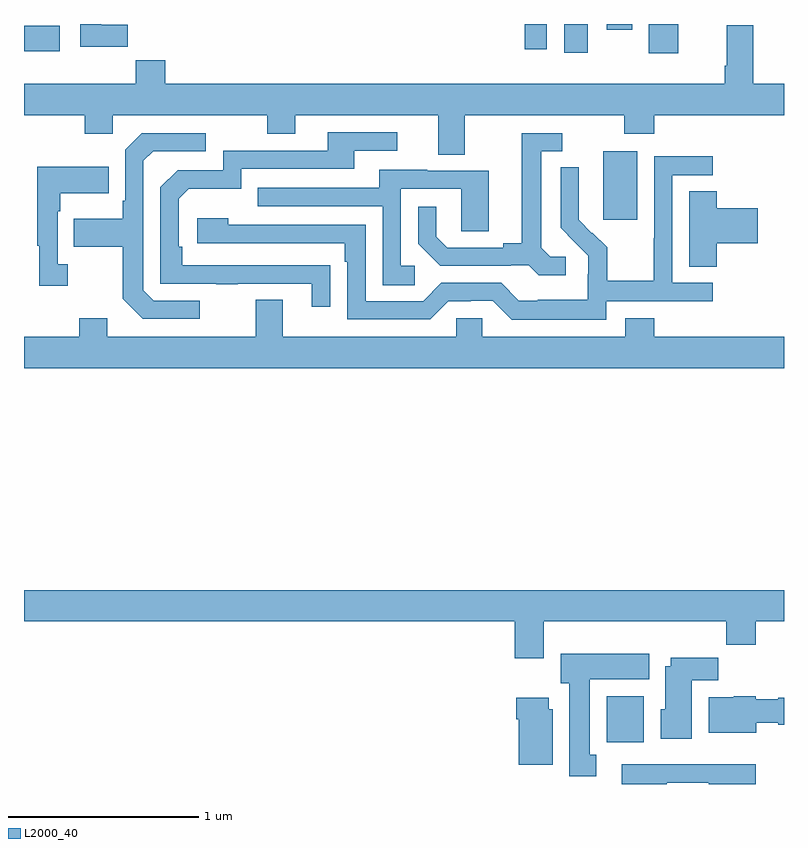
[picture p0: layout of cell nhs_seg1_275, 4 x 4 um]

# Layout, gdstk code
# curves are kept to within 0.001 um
import gdstk
lib = gdstk.Library(unit=1e-6, precision=1e-09)
def R(c, l, rs):  # rectangles x0, y0, x1, y1
    for r in rs: c.add(gdstk.rectangle(r[:2], r[2:], *l))
def P(c, l, *ps):  # polygons
    for p in ps: c.add(gdstk.Polygon(p, *l))
L2000_40 = (2000, 40)

nhs_seg1_275 = lib.new_cell('nhs_seg1_275')
R(nhs_seg1_275, L2000_40, [(128.066,560.42,128.263,560.662), (128.048,563.169,128.227,563.53), (128.288,564.045,128.443,564.199), (127.844,564.048,127.966,564.199), (125,564.056,125.188,564.19), (127.636,564.066,127.752,564.199), (128.066,564.168,128.2,564.199)])
P(nhs_seg1_275, L2000_40, [(125.546,564.196),(125.407,564.196),(125.407,564.199),(125.297,564.199),(125.297,564.078),(125.546,564.078)],
  [(127.321,563.72),(128.158,563.72),(128.158,563.621),(128.318,563.621),(128.318,563.72),(129,563.72),(129,563.884),(128.839,563.884),(128.839,564.193),(128.699,564.193),(128.699,563.98),(128.687,563.98),(128.687,563.884),(125.744,563.884),(125.744,564.008),(125.587,564.008),(125.587,563.884),(125,563.884),(125,563.72),(125.32,563.72),(125.32,563.621),(125.466,563.621),(125.466,563.72),(126.28,563.72),(126.28,563.621),(126.427,563.621),(126.427,563.72),(127.181,563.72),(127.181,563.512),(127.321,563.512)],
  [(126.611,562.928),(125.834,562.929),(125.834,563.026),(125.814,563.026),(125.814,563.28),(125.867,563.333),(126.144,563.333),(126.144,563.436),(126.739,563.436),(126.739,563.532),(126.964,563.532),(126.964,563.628),(126.599,563.628),(126.599,563.532),(126.048,563.532),(126.048,563.43),(125.808,563.43),(125.718,563.34),(125.718,562.833),(126.013,562.833),(126.013,562.828),(126.125,562.828),(126.125,562.833),(126.515,562.833),(126.515,562.71),(126.611,562.71)],
  [(127.852,562.974),(127.77,562.974),(127.723,563.021),(127.723,563.529),(127.834,563.529),(127.834,563.625),(127.619,563.625),(127.619,563.045),(127.523,563.045),(127.523,563.022),(127.228,563.022),(127.171,563.079),(127.171,563.236),(127.074,563.236),(127.074,563.042),(127.19,562.926),(127.562,562.926),(127.562,562.929),(127.656,562.929),(127.708,562.877),(127.852,562.877)],
  [(125.926,562.743),(125.682,562.743),(125.628,562.797),(125.628,563.478),(125.679,563.529),(125.956,563.529),(125.956,563.625),(125.619,563.625),(125.532,563.538),(125.532,563.269),(125.52,563.269),(125.52,563.173),(125.263,563.173),(125.263,563.026),(125.52,563.026),(125.52,562.753),(125.625,562.647),(125.926,562.647)],
  [(128.064,562.74),(128.626,562.74),(128.626,562.836),(128.412,562.836),(128.412,563.403),(128.626,563.403),(128.626,563.502),(128.316,563.502),(128.316,563.072),(128.314,563.072),(128.314,562.849),(128.069,562.849),(128.069,563.023),(127.992,563.1),(127.989,563.097),(127.919,563.168),(127.92,563.444),(127.824,563.444),(127.824,563.126),(127.97,562.978),(127.97,562.881),(127.968,562.881),(127.968,562.747),(127.705,562.747),(127.705,562.743),(127.605,562.743),(127.512,562.836),(127.197,562.836),(127.101,562.74),(126.798,562.74),(126.798,563.142),(126.074,563.142),(126.074,563.176),(125.913,563.176),(125.913,563.046),(126.689,563.046),(126.689,562.949),(126.702,562.949),(126.702,562.644),(127.137,562.644),(127.233,562.74),(127.352,562.74),(127.352,562.743),(127.467,562.743),(127.567,562.643),(128.064,562.643)],
  [(125.23,562.934),(125.178,562.934),(125.178,563.213),(125.191,563.213),(125.191,563.309),(125.447,563.309),(125.447,563.449),(125.07,563.449),(125.07,563.033),(125.081,563.033),(125.081,562.821),(125.23,562.821)],
  [(127.057,562.926),(126.984,562.926),(126.984,563.331),(127.302,563.331),(127.302,563.107),(127.447,563.107),(127.447,563.427),(127.123,563.427),(127.123,563.431),(126.869,563.431),(126.869,563.337),(126.229,563.337),(126.229,563.241),(126.888,563.241),(126.888,562.825),(127.057,562.825)],
  [(128.645,563.045),(128.863,563.045),(128.863,563.228),(128.645,563.228),(128.645,563.318),(128.501,563.318),(128.501,562.921),(128.645,562.921)],
  [(129,562.552),(128.318,562.552),(128.318,562.651),(128.165,562.651),(128.165,562.552),(127.413,562.552),(127.413,562.65),(127.275,562.65),(127.275,562.552),(126.361,562.552),(126.361,562.747),(126.221,562.747),(126.221,562.552),(125.437,562.552),(125.437,562.651),(125.29,562.651),(125.29,562.552),(125,562.552),(125,562.388),(129,562.388)],
  [(127.735,561.056),(128.695,561.056),(128.695,560.932),(128.852,560.932),(128.852,561.056),(129,561.056),(129,561.22),(125,561.22),(125,561.056),(127.583,561.056),(127.583,560.862),(127.735,560.862)],
  [(128.011,560.354),(127.978,560.354),(127.978,560.75),(128.29,560.75),(128.29,560.884),(127.826,560.884),(127.826,560.73),(127.871,560.73),(127.871,560.241),(128.011,560.241)],
  [(128.515,560.744),(128.654,560.744),(128.654,560.863),(128.405,560.863),(128.405,560.818),(128.375,560.818),(128.375,560.592),(128.351,560.592),(128.351,560.438),(128.515,560.438)],
  [(128.854,560.522),(128.97,560.522),(128.97,560.51),(129,560.51),(129,560.652),(128.97,560.652),(128.97,560.644),(128.85,560.644),(128.85,560.662),(128.736,560.662),(128.736,560.656),(128.603,560.656),(128.603,560.468),(128.854,560.468)],
  [(127.783,560.592),(127.762,560.592),(127.762,560.653),(127.592,560.653),(127.592,560.54),(127.604,560.54),(127.604,560.3),(127.783,560.3)],
  [(128.383,560.205),(128.603,560.205),(128.603,560.199),(128.852,560.199),(128.852,560.302),(128.147,560.302),(128.147,560.199),(128.383,560.199)])

lib.write_gds('nhs_seg1_275.gds')
